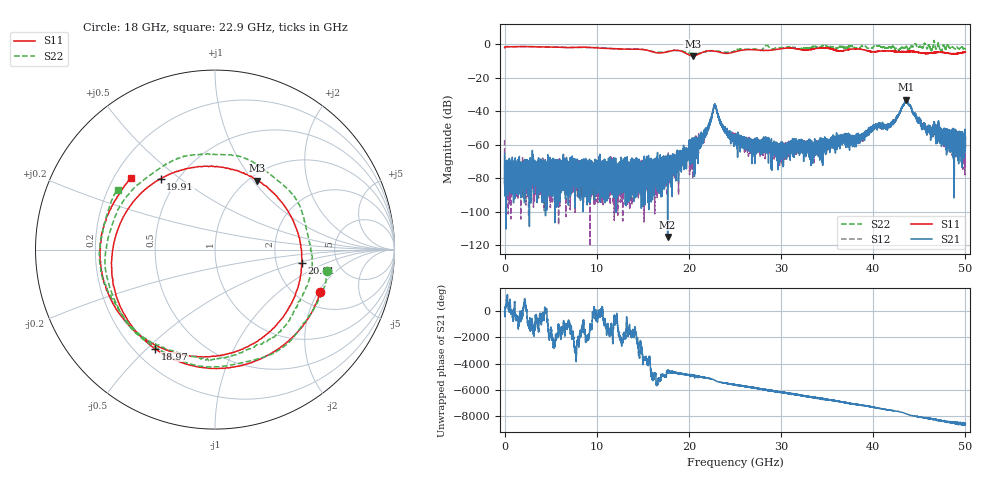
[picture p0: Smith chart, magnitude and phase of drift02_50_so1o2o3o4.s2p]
!Created with skrf (http://scikit-rf.org).
# Hz S RI R 50.0
!freq ReS11 ImS11 ReS21 ImS21 ReS12 ImS12 ReS22 ImS22
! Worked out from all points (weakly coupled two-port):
!   10001 points, 300 kHz to 50 GHz, reference 50 ohm
!   highest |S21| = -32.96 dB at 43.61 GHz (marker M1); lowest = -114.9 dB at 17.69 GHz (marker M2)
!   lowest |S11| = -6.9 dB at 20.41 GHz (marker M3), VSWR 2.64, Z = 54.5 + j52.5 ohm
!   |S11| at or under -10 dB: nowhere
!   |S22| runs from -5.7 to 2.3 dB; largest |S21 - S12| = 0.0034
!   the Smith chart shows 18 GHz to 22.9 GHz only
!   S11 on the Smith chart (normalised r, x): 18 GHz: 2.63, -2.09; 18.97 GHz: 0.28, -0.53; 19.91 GHz: 0.41, +0.43; 20.91 GHz: 2.81, -0.54; 22.9 GHz: 0.27, +0.35
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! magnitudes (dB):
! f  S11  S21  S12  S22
! 300 kHz  -2.0  -65.2  -57.1  -2.1
! 335.3 MHz  -1.4  -73.9  -74.1  -1.4
! 8.335 GHz  -1.7  -76.0  -71.8  -1.9
! 16.67 GHz  -5.2  -70.4  -81.1  -4.7
! 17.69 GHz  -4.4  -114.9  -71.3  -4.3
! 18 GHz  -4.0  -74.9  -68.5  -4.0
! 18.97 GHz  -3.8  -70.1  -66.4  -3.9
! 19.91 GHz  -6.1  -64.5  -63.5  -5.2
! 20.41 GHz  -6.9  -60.8  -62.9  -5.4
! 20.91 GHz  -6.2  -60.5  -62.7  -5.6
! 22.9 GHz  -4.2  -37.0  -36.9  -3.9
! 23.76 GHz  -5.3  -49.4  -49.4  -4.6
! 25 GHz  -4.5  -55.7  -56.3  -3.9
! 29.82 GHz  -2.8  -69.1  -67.0  -2.0
! 33.34 GHz  -3.0  -62.3  -59.4  -1.5
! 37.9 GHz  -2.8  -54.4  -58.1  -1.8
! 40.39 GHz  -4.3  -48.9  -48.3  -0.9
! 41.67 GHz  -4.0  -48.4  -47.9  -1.9
! 43.61 GHz  -4.4  -33.0  -33.3  -1.6
! 45.67 GHz  -5.5  -48.9  -49.6  -0.3
! 48.57 GHz  -5.6  -53.2  -56.7  -1.5
! 50 GHz  -4.6  -56.4  -62.0  -2.6
